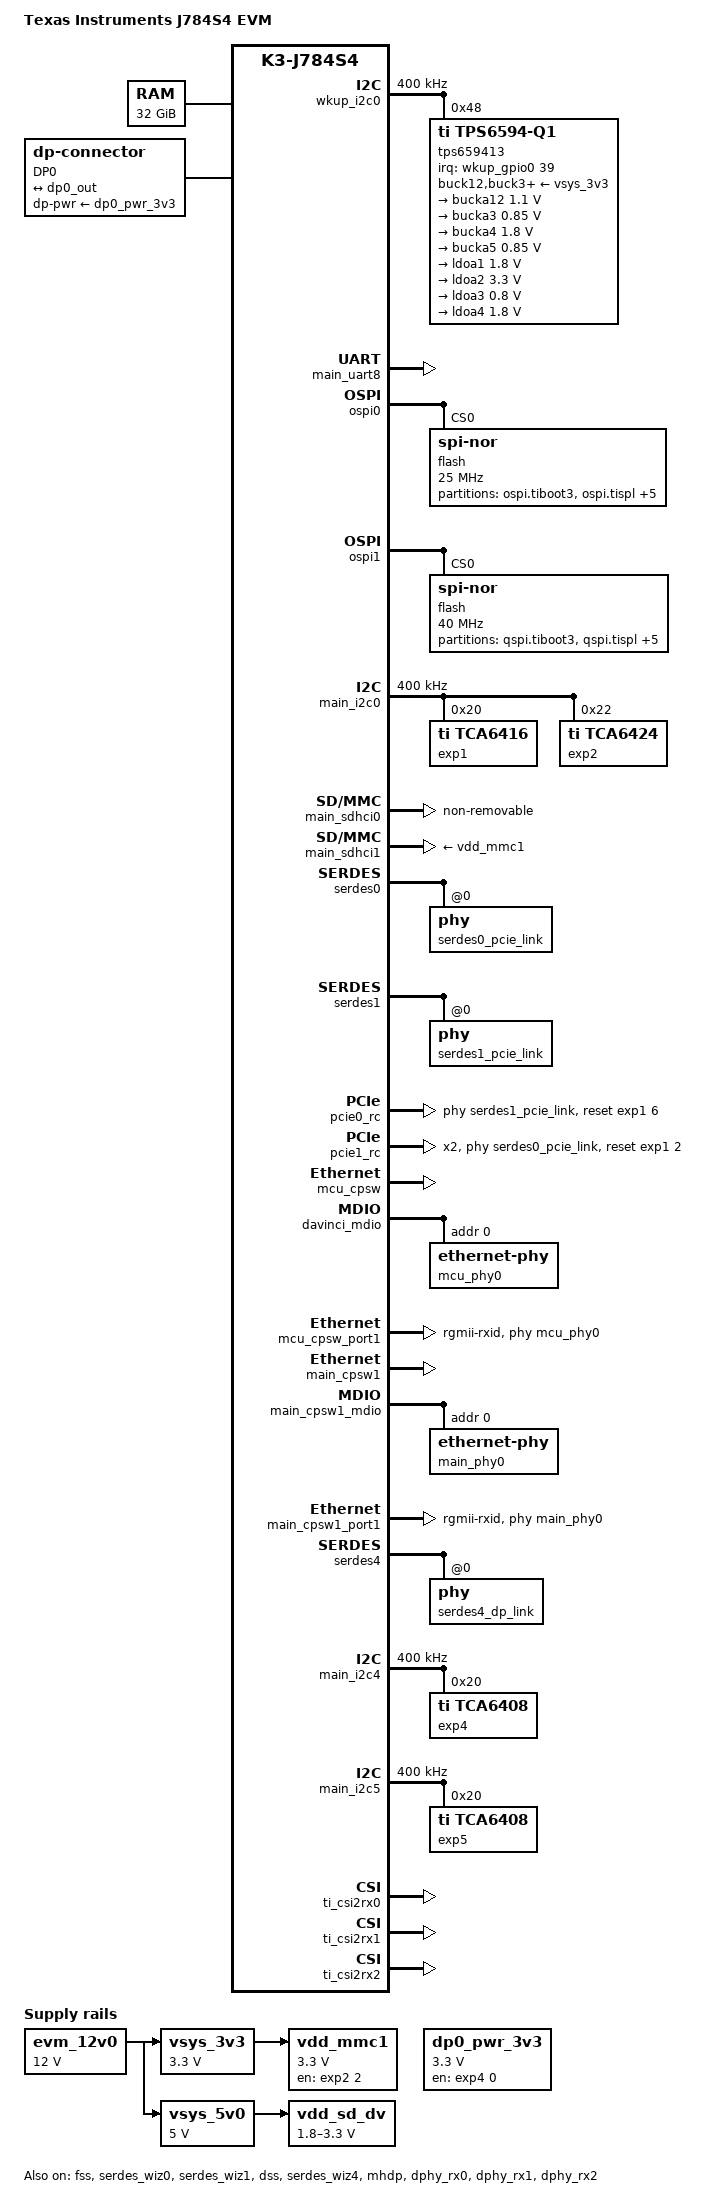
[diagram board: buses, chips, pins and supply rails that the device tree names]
// SPDX-License-Identifier: GPL-2.0
/*
 * Copyright (C) 2022 Texas Instruments Incorporated - https://www.ti.com/
 *
 * EVM Board Schematics: https://www.ti.com/lit/zip/sprr458
 */

/dts-v1/;

#include <dt-bindings/net/ti-dp83867.h>
#include <dt-bindings/gpio/gpio.h>
#include "k3-j784s4.dtsi"

/ {
	compatible = "ti,j784s4-evm", "ti,j784s4";
	model = "Texas Instruments J784S4 EVM";

	chosen {
		stdout-path = "serial2:115200n8";
	};

	aliases {
		serial2 = &main_uart8;
		mmc0 = &main_sdhci0;
		mmc1 = &main_sdhci1;
		i2c0 = &main_i2c0;
	};

	memory@80000000 {
		device_type = "memory";
		/* 32G RAM */
		reg = <0x00 0x80000000 0x00 0x80000000>,
		      <0x08 0x80000000 0x07 0x80000000>;
	};

	reserved_memory: reserved-memory {
		#address-cells = <2>;
		#size-cells = <2>;
		ranges;

		secure_ddr: optee@9e800000 {
			reg = <0x00 0x9e800000 0x00 0x01800000>;
			no-map;
		};
	};

	evm_12v0: regulator-evm12v0 {
		/* main supply */
		compatible = "regulator-fixed";
		regulator-name = "evm_12v0";
		regulator-min-microvolt = <12000000>;
		regulator-max-microvolt = <12000000>;
		regulator-always-on;
		regulator-boot-on;
	};

	vsys_3v3: regulator-vsys3v3 {
		/* Output of LM5140 */
		compatible = "regulator-fixed";
		regulator-name = "vsys_3v3";
		regulator-min-microvolt = <3300000>;
		regulator-max-microvolt = <3300000>;
		vin-supply = <&evm_12v0>;
		regulator-always-on;
		regulator-boot-on;
	};

	vsys_5v0: regulator-vsys5v0 {
		/* Output of LM5140 */
		compatible = "regulator-fixed";
		regulator-name = "vsys_5v0";
		regulator-min-microvolt = <5000000>;
		regulator-max-microvolt = <5000000>;
		vin-supply = <&evm_12v0>;
		regulator-always-on;
		regulator-boot-on;
	};

	vdd_mmc1: regulator-sd {
		/* Output of TPS22918 */
		compatible = "regulator-fixed";
		regulator-name = "vdd_mmc1";
		regulator-min-microvolt = <3300000>;
		regulator-max-microvolt = <3300000>;
		regulator-boot-on;
		enable-active-high;
		vin-supply = <&vsys_3v3>;
		gpio = <&exp2 2 GPIO_ACTIVE_HIGH>;
	};

	vdd_sd_dv: regulator-TLV71033 {
		/* Output of TLV71033 */
		compatible = "regulator-gpio";
		regulator-name = "tlv71033";
		pinctrl-names = "default";
		pinctrl-0 = <&vdd_sd_dv_pins_default>;
		regulator-min-microvolt = <1800000>;
		regulator-max-microvolt = <3300000>;
		regulator-boot-on;
		vin-supply = <&vsys_5v0>;
		gpios = <&main_gpio0 8 GPIO_ACTIVE_HIGH>;
		states = <1800000 0x0>,
			 <3300000 0x1>;
	};

	dp0_pwr_3v3: regulator-dp0-prw {
		compatible = "regulator-fixed";
		regulator-name = "dp0-pwr";
		regulator-min-microvolt = <3300000>;
		regulator-max-microvolt = <3300000>;
		gpio = <&exp4 0 GPIO_ACTIVE_HIGH>;
		enable-active-high;
	};

	dp0: dp0-connector {
		compatible = "dp-connector";
		label = "DP0";
		type = "full-size";
		dp-pwr-supply = <&dp0_pwr_3v3>;

		port {
			dp0_connector_in: endpoint {
				remote-endpoint = <&dp0_out>;
			};
		};
	};
};

&wkup_pmx0 {
	status = "okay";
	wkup_i2c0_pins_default: wkup_i2c0_pins_default {
		pinctrl-single,pins = <
			J784S4_WKUP_IOPAD(0x100, PIN_INPUT, 0) /* (N33) WKUP_I2C0_SCL */
			J784S4_WKUP_IOPAD(0x104, PIN_INPUT, 0) /* (N35) WKUP_I2C0_SDA */
		>;
	};

	pmic_irq_pins_default: pmic-irq-pins-default {
		pinctrl-single,pins = <
			/* (G33) MCU_OSPI1_CSn1.WKUP_GPIO0_39 */
			J784S4_WKUP_IOPAD(0x060, PIN_INPUT, 7)
		>;
	};
};

&wkup_gpio0 {
	status = "okay";
};

&wkup_i2c0 {
	status = "okay";
	pinctrl-names = "default";
	pinctrl-0 = <&wkup_i2c0_pins_default>;
	clock-frequency = <400000>;
	tps659413: pmic@48 {
		compatible = "ti,tps6594-q1";
		reg = <0x48>;
		system-power-controller;
		pinctrl-names = "default";
		pinctrl-0 = <&pmic_irq_pins_default>;
		interrupt-parent = <&wkup_gpio0>;
		interrupts = <39 IRQ_TYPE_EDGE_FALLING>;
		ti,primary-pmic;

		gpio-controller;
		#gpio-cells = <2>;

		buck12-supply = <&vsys_3v3>;
		buck3-supply = <&vsys_3v3>;
		buck4-supply = <&vsys_3v3>;
		buck5-supply = <&vsys_3v3>;
		ldo1-supply = <&vsys_3v3>;
		ldo2-supply = <&vsys_3v3>;
		ldo3-supply = <&vsys_3v3>;
		ldo4-supply = <&vsys_3v3>;

		regulators {
			bucka12: buck12 {
				regulator-name = "vdd_ddr_1v1";
				regulator-min-microvolt = <1100000>;
				regulator-max-microvolt = <1100000>;
				regulator-boot-on;
				regulator-always-on;
			};

			bucka3: buck3 {
				regulator-name = "vdd_ram_0v85";
				regulator-min-microvolt = <850000>;
				regulator-max-microvolt = <850000>;
				regulator-boot-on;
				regulator-always-on;
			};

			bucka4: buck4 {
				regulator-name = "vdd_io_1v8";
				regulator-min-microvolt = <1800000>;
				regulator-max-microvolt = <1800000>;
				regulator-boot-on;
				regulator-always-on;
			};

			bucka5: buck5 {
				regulator-name = "vdd_mcu_0v85";
				regulator-min-microvolt = <850000>;
				regulator-max-microvolt = <850000>;
				regulator-boot-on;
				regulator-always-on;
			};

			ldoa1: ldo1 {
				regulator-name = "vdd_mcuio_1v8";
				regulator-min-microvolt = <1800000>;
				regulator-max-microvolt = <1800000>;
				regulator-boot-on;
				regulator-always-on;
			};

			ldoa2: ldo2 {
				regulator-name = "vdd_mcuio_3v3";
				regulator-min-microvolt = <3300000>;
				regulator-max-microvolt = <3300000>;
				regulator-boot-on;
				regulator-always-on;
			};

			ldoa3: ldo3 {
				regulator-name = "vds_dll_0v8";
				regulator-min-microvolt = <800000>;
				regulator-max-microvolt = <800000>;
				regulator-boot-on;
				regulator-always-on;
			};

			ldoa4: ldo4 {
				regulator-name = "vda_mcu_1v8";
				regulator-min-microvolt = <1800000>;
				regulator-max-microvolt = <1800000>;
				regulator-boot-on;
				regulator-always-on;
			};
		};
	};
};

&main_pmx0 {
	main_cpsw2g_pins_default: main-cpsw2g-pins-default {
		pinctrl-single,pins = <
			J784S4_IOPAD(0x0b8, PIN_INPUT, 6) /* (AC34) MCASP1_ACLKX.RGMII1_RD0 */
			J784S4_IOPAD(0x0a0, PIN_INPUT, 6) /* (AD34) MCASP0_AXR12.RGMII1_RD1 */
			J784S4_IOPAD(0x0a4, PIN_INPUT, 6) /* (AJ36) MCASP0_AXR13.RGMII1_RD2 */
			J784S4_IOPAD(0x0a8, PIN_INPUT, 6) /* (AF34) MCASP0_AXR14.RGMII1_RD3 */
			J784S4_IOPAD(0x0b0, PIN_INPUT, 6) /* (AL33) MCASP1_AXR3.RGMII1_RXC */
			J784S4_IOPAD(0x0ac, PIN_INPUT, 6) /* (AE34) MCASP0_AXR15.RGMII1_RX_CTL */
			J784S4_IOPAD(0x08c, PIN_INPUT, 6) /* (AE35) MCASP0_AXR7.RGMII1_TD0 */
			J784S4_IOPAD(0x090, PIN_INPUT, 6) /* (AC35) MCASP0_AXR8.RGMII1_TD1 */
			J784S4_IOPAD(0x094, PIN_INPUT, 6) /* (AG35) MCASP0_AXR9.RGMII1_TD2 */
			J784S4_IOPAD(0x098, PIN_INPUT, 6) /* (AH36) MCASP0_AXR10.RGMII1_TD3 */
			J784S4_IOPAD(0x0b4, PIN_INPUT, 6) /* (AL34) MCASP1_AXR4.RGMII1_TXC */
			J784S4_IOPAD(0x09c, PIN_INPUT, 6) /* (AF35) MCASP0_AXR11.RGMII1_TX_CTL */
		>;
	};

	main_cpsw2g_mdio_pins_default: main-cpsw2g-mdio-pins-default {
		pinctrl-single,pins = <
			J784S4_IOPAD(0x0c0, PIN_INPUT, 6) /* (AD38) MCASP1_AXR0.MDIO0_MDC */
			J784S4_IOPAD(0x0bc, PIN_INPUT, 6) /* (AD33) MCASP1_AFSX.MDIO0_MDIO */
		>;
	};

	main_uart8_pins_default: main-uart8-pins-default {
		pinctrl-single,pins = <
			J784S4_IOPAD(0x040, PIN_INPUT, 14) /* (AF37) MCASP0_AXR0.UART8_CTSn */
			J784S4_IOPAD(0x044, PIN_OUTPUT, 14) /* (AG37) MCASP0_AXR1.UART8_RTSn */
			J784S4_IOPAD(0x0d0, PIN_INPUT, 11) /* (AP38) SPI0_CS1.UART8_RXD */
			J784S4_IOPAD(0x0d4, PIN_OUTPUT, 11) /* (AN38) SPI0_CLK.UART8_TXD */
		>;
	};

	main_i2c0_pins_default: main-i2c0-pins-default {
		pinctrl-single,pins = <
			J784S4_IOPAD(0x0e0, PIN_INPUT_PULLUP, 0) /* (AN36) I2C0_SCL */
			J784S4_IOPAD(0x0e4, PIN_INPUT_PULLUP, 0) /* (AP37) I2C0_SDA */
		>;
	};

	main_i2c5_pins_default: main-i2c5-pins-default {
		pinctrl-single,pins = <
			J784S4_IOPAD(0x01c, PIN_INPUT, 8) /* (AG34) MCAN15_TX.I2C5_SCL */
			J784S4_IOPAD(0x018, PIN_INPUT, 8) /* (AK36) MCAN14_RX.I2C5_SDA */
		>;
	};

	main_mmc1_pins_default: main-mmc1-pins-default {
		pinctrl-single,pins = <
			J784S4_IOPAD(0x104, PIN_INPUT, 0) /* (AB38) MMC1_CLK */
			J784S4_IOPAD(0x108, PIN_INPUT, 0) /* (AB36) MMC1_CMD */
			J784S4_IOPAD(0x100, PIN_INPUT, 0) /* (No Pin) MMC1_CLKLB */
			J784S4_IOPAD(0x0fc, PIN_INPUT, 0) /* (AA33) MMC1_DAT0 */
			J784S4_IOPAD(0x0f8, PIN_INPUT, 0) /* (AB34) MMC1_DAT1 */
			J784S4_IOPAD(0x0f4, PIN_INPUT, 0) /* (AA32) MMC1_DAT2 */
			J784S4_IOPAD(0x0f0, PIN_INPUT, 0) /* (AC38) MMC1_DAT3 */
			J784S4_IOPAD(0x0e8, PIN_INPUT, 8) /* (AR38) TIMER_IO0.MMC1_SDCD */
		>;
	};

	vdd_sd_dv_pins_default: vdd-sd-dv-pins-default {
		pinctrl-single,pins = <
			J784S4_IOPAD(0x020, PIN_INPUT, 7) /* (AJ35) MCAN15_RX.GPIO0_8 */
		>;
	};

	dp0_pins_default: dp0-pins-default {
		pinctrl-single,pins = <
			J784S4_IOPAD(0x0cc, PIN_INPUT, 12) /* (AM37) SPI0_CS0.DP0_HPD */
		>;
	};

	main_i2c4_pins_default: main-i2c4-pins-default {
		pinctrl-single,pins = <
			J784S4_IOPAD(0x014, PIN_INPUT_PULLUP, 8) /* (AG33) MCAN14_TX.I2C4_SCL */
			J784S4_IOPAD(0x010, PIN_INPUT_PULLUP, 8) /* (AH33) MCAN13_RX.I2C4_SDA */
		>;
	};
};

&wkup_pmx0 {
	mcu_cpsw_pins_default: mcu-cpsw-pins-default {
		pinctrl-single,pins = <
			J784S4_WKUP_IOPAD(0x094, PIN_INPUT, 0) /* (A35) MCU_RGMII1_RD0 */
			J784S4_WKUP_IOPAD(0x090, PIN_INPUT, 0) /* (B36) MCU_RGMII1_RD1 */
			J784S4_WKUP_IOPAD(0x08c, PIN_INPUT, 0) /* (C36) MCU_RGMII1_RD2 */
			J784S4_WKUP_IOPAD(0x088, PIN_INPUT, 0) /* (D36) MCU_RGMII1_RD3 */
			J784S4_WKUP_IOPAD(0x084, PIN_INPUT, 0) /* (B37) MCU_RGMII1_RXC */
			J784S4_WKUP_IOPAD(0x06c, PIN_INPUT, 0) /* (C37) MCU_RGMII1_RX_CTL */
			J784S4_WKUP_IOPAD(0x07c, PIN_OUTPUT, 0) /* (D37) MCU_RGMII1_TD0 */
			J784S4_WKUP_IOPAD(0x078, PIN_OUTPUT, 0) /* (D38) MCU_RGMII1_TD1 */
			J784S4_WKUP_IOPAD(0x074, PIN_OUTPUT, 0) /* (E37) MCU_RGMII1_TD2 */
			J784S4_WKUP_IOPAD(0x070, PIN_OUTPUT, 0) /* (E38) MCU_RGMII1_TD3 */
			J784S4_WKUP_IOPAD(0x080, PIN_OUTPUT, 0) /* (E36) MCU_RGMII1_TXC */
			J784S4_WKUP_IOPAD(0x068, PIN_OUTPUT, 0) /* (C38) MCU_RGMII1_TX_CTL */
		>;
	};

	mcu_mdio_pins_default: mcu-mdio-pins-default {
		pinctrl-single,pins = <
			J784S4_WKUP_IOPAD(0x09c, PIN_OUTPUT, 0) /* (A36) MCU_MDIO0_MDC */
			J784S4_WKUP_IOPAD(0x098, PIN_INPUT, 0) /* (B35) MCU_MDIO0_MDIO */
		>;
	};
};

&wkup_pmx0 {
	mcu_fss0_ospi0_pins_default: mcu-fss0-ospi0-pins-default {
		pinctrl-single,pins = <
			J784S4_WKUP_IOPAD(0x000, PIN_OUTPUT, 0) /* (E32) MCU_OSPI0_CLK */
			J784S4_WKUP_IOPAD(0x02c, PIN_OUTPUT, 0) /* (A32) MCU_OSPI0_CSn0 */
			J784S4_WKUP_IOPAD(0x00c, PIN_INPUT, 0) /* (B33) MCU_OSPI0_D0 */
			J784S4_WKUP_IOPAD(0x010, PIN_INPUT, 0) /* (B32) MCU_OSPI0_D1 */
			J784S4_WKUP_IOPAD(0x014, PIN_INPUT, 0) /* (C33) MCU_OSPI0_D2 */
			J784S4_WKUP_IOPAD(0x018, PIN_INPUT, 0) /* (C35) MCU_OSPI0_D3 */
			J784S4_WKUP_IOPAD(0x01c, PIN_INPUT, 0) /* (D33) MCU_OSPI0_D4 */
			J784S4_WKUP_IOPAD(0x020, PIN_INPUT, 0) /* (D34) MCU_OSPI0_D5 */
			J784S4_WKUP_IOPAD(0x024, PIN_INPUT, 0) /* (E34) MCU_OSPI0_D6 */
			J784S4_WKUP_IOPAD(0x028, PIN_INPUT, 0) /* (E33) MCU_OSPI0_D7 */
			J784S4_WKUP_IOPAD(0x008, PIN_INPUT, 0) /* (C34) MCU_OSPI0_DQS */
			J784S4_WKUP_IOPAD(0x03c, PIN_OUTPUT, 6) /* (C32) MCU_OSPI0_CSn3.MCU_OSPI0_ECC_FAIL */
			J784S4_WKUP_IOPAD(0x038, PIN_OUTPUT, 6) /* (B34) MCU_OSPI0_CSn2.MCU_OSPI0_RESET_OUT0 */
		>;
	};

	mcu_fss0_ospi1_pins_default: mcu-fss0-ospi1-pins-default {
		pinctrl-single,pins = <
			J784S4_WKUP_IOPAD(0x040, PIN_OUTPUT, 0) /* (F32) MCU_OSPI1_CLK */
			J784S4_WKUP_IOPAD(0x05c, PIN_OUTPUT, 0) /* (G32) MCU_OSPI1_CSn0 */
			J784S4_WKUP_IOPAD(0x04c, PIN_INPUT, 0) /* (E35) MCU_OSPI1_D0 */
			J784S4_WKUP_IOPAD(0x050, PIN_INPUT, 0) /* (D31) MCU_OSPI1_D1 */
			J784S4_WKUP_IOPAD(0x054, PIN_INPUT, 0) /* (G31) MCU_OSPI1_D2 */
			J784S4_WKUP_IOPAD(0x058, PIN_INPUT, 0) /* (F33) MCU_OSPI1_D3 */
			J784S4_WKUP_IOPAD(0x048, PIN_INPUT, 0) /* (F31) MCU_OSPI1_DQS */
			J784S4_WKUP_IOPAD(0x044, PIN_INPUT, 0) /* (C31) MCU_OSPI1_LBCLKO */
		>;
	};
};

&main_uart8 {
	status = "okay";
	pinctrl-names = "default";
	pinctrl-0 = <&main_uart8_pins_default>;
};

&fss {
	status = "okay";
};

&ospi0 {
	status = "okay";
	pinctrl-names = "default";
	pinctrl-0 = <&mcu_fss0_ospi0_pins_default>;

	flash@0 {
		compatible = "jedec,spi-nor";
		reg = <0x0>;
		spi-tx-bus-width = <8>;
		spi-rx-bus-width = <8>;
		spi-max-frequency = <25000000>;
		cdns,tshsl-ns = <60>;
		cdns,tsd2d-ns = <60>;
		cdns,tchsh-ns = <60>;
		cdns,tslch-ns = <60>;
		cdns,read-delay = <4>;

		partitions {
			compatible = "fixed-partitions";
			#address-cells = <1>;
			#size-cells = <1>;

			partition@0 {
				label = "ospi.tiboot3";
				reg = <0x0 0x80000>;
			};

			partition@80000 {
				label = "ospi.tispl";
				reg = <0x80000 0x200000>;
			};

			partition@280000 {
				label = "ospi.u-boot";
				reg = <0x280000 0x400000>;
			};

			partition@680000 {
				label = "ospi.env";
				reg = <0x680000 0x40000>;
			};

			partition@6c0000 {
				label = "ospi.env.backup";
				reg = <0x6c0000 0x40000>;
			};

			partition@800000 {
				label = "ospi.rootfs";
				reg = <0x800000 0x37c0000>;
			};

			partition@3fc0000 {
				label = "ospi.phypattern";
				reg = <0x3fc0000 0x40000>;
			};
		};
	};
};

&ospi1 {
	status = "okay";
	pinctrl-names = "default";
	pinctrl-0 = <&mcu_fss0_ospi1_pins_default>;

	flash@0{
		compatible = "jedec,spi-nor";
		reg = <0x0>;
		spi-tx-bus-width = <1>;
		spi-rx-bus-width = <4>;
		spi-max-frequency = <40000000>;
		cdns,tshsl-ns = <60>;
		cdns,tsd2d-ns = <60>;
		cdns,tchsh-ns = <60>;
		cdns,tslch-ns = <60>;
		cdns,read-delay = <2>;

		partitions {
			compatible = "fixed-partitions";
			#address-cells = <1>;
			#size-cells = <1>;

			partition@0 {
				label = "qspi.tiboot3";
				reg = <0x0 0x80000>;
			};

			partition@80000 {
				label = "qspi.tispl";
				reg = <0x80000 0x200000>;
			};

			partition@280000 {
				label = "qspi.u-boot";
				reg = <0x280000 0x400000>;
			};

			partition@680000 {
				label = "qspi.env";
				reg = <0x680000 0x40000>;
			};

			partition@6c0000 {
				label = "qspi.env.backup";
				reg = <0x6c0000 0x40000>;
			};

			partition@800000 {
				label = "qspi.rootfs";
				reg = <0x800000 0x37c0000>;
			};

			partition@3fc0000 {
				label = "qspi.phypattern";
				reg = <0x3fc0000 0x40000>;
			};
		};

	};
};

&main_i2c0 {
	status = "okay";
	pinctrl-names = "default";
	pinctrl-0 = <&main_i2c0_pins_default>;

	clock-frequency = <400000>;

	exp1: gpio@20 {
		compatible = "ti,tca6416";
		reg = <0x20>;
		gpio-controller;
		#gpio-cells = <2>;
		gpio-line-names = "PCIE1_2L_MODE_SEL", "PCIE1_4L_PERSTZ", "PCIE1_2L_RC_RSTZ",
				  "PCIE1_2L_EP_RST_EN", "PCIE0_4L_MODE_SEL", "PCIE0_4L_PERSTZ",
				  "PCIE0_4L_RC_RSTZ", "PCIE0_4L_EP_RST_EN", "PCIE1_4L_PRSNT#",
				  "PCIE0_4L_PRSNT#", "CDCI1_OE1/OE4", "CDCI1_OE2/OE3",
				  "AUDIO_MUX_SEL", "EXP_MUX2", "EXP_MUX3", "GESI_EXP_PHY_RSTZ";
	};

	exp2: gpio@22 {
		compatible = "ti,tca6424";
		reg = <0x22>;
		gpio-controller;
		#gpio-cells = <2>;
		gpio-line-names = "R_GPIO_RGMII1_RST", "ENET2_I2CMUX_SEL", "GPIO_USD_PWR_EN",
				  "USBC_PWR_EN", "USBC_MODE_SEL1", "USBC_MODE_SEL0",
				  "GPIO_LIN_EN", "R_CAN_STB", "CTRL_PM_I2C_OE#",
				  "ENET2_EXP_PWRDN", "ENET2_EXP_SPARE2", "CDCI2_RSTZ",
				  "USB2.0_MUX_SEL", "CANUART_MUX_SEL0", "CANUART_MUX2_SEL1",
				  "CANUART_MUX1_SEL1", "ENET1_EXP_PWRDN", "ENET1_EXP_RESETZ",
				  "ENET1_I2CMUX_SEL", "ENET1_EXP_SPARE2", "ENET2_EXP_RESETZ",
				  "USER_INPUT1", "USER_LED1", "USER_LED2";
	};
};

&main_sdhci0 {
	/* eMMC */
	status = "okay";
	non-removable;
	ti,driver-strength-ohm = <50>;
	disable-wp;
};

&main_sdhci1 {
	/* SD card */
	status = "okay";
	pinctrl-0 = <&main_mmc1_pins_default>;
	pinctrl-names = "default";
	disable-wp;
	vmmc-supply = <&vdd_mmc1>;
	vqmmc-supply = <&vdd_sd_dv>;
};

&serdes0 {
	status = "okay";
	serdes0_pcie_link: phy@0 {
		reg = <0>;
		cdns,num-lanes = <4>;
		#phy-cells = <0>;
		cdns,phy-type = <PHY_TYPE_PCIE>;
		resets = <&serdes_wiz0 1>, <&serdes_wiz0 2>,
			 <&serdes_wiz0 3>, <&serdes_wiz0 4>;
	};
};

&serdes_wiz0 {
	status = "okay";
};

&serdes1 {
	status = "okay";
	serdes1_pcie_link: phy@0 {
		reg = <0>;
		cdns,num-lanes = <2>;
		#phy-cells = <0>;
		cdns,phy-type = <PHY_TYPE_PCIE>;
		resets = <&serdes_wiz1 1>, <&serdes_wiz1 2>;
	};
};

&serdes_wiz1 {
	status = "okay";
};

&pcie0_rc {
	status = "okay";
	reset-gpios = <&exp1 6 GPIO_ACTIVE_HIGH>;
	phys = <&serdes1_pcie_link>;
	phy-names = "pcie-phy";
};

&pcie0_ep {
	phys = <&serdes1_pcie_link>;
	phy-names = "pcie-phy";
};

&pcie1_rc {
	status = "okay";
	num-lanes = <2>;
	reset-gpios = <&exp1 2 GPIO_ACTIVE_HIGH>;
	phys = <&serdes0_pcie_link>;
	phy-names = "pcie-phy";
};

&pcie1_ep {
	num-lanes = <2>;
	phys = <&serdes0_pcie_link>;
	phy-names = "pcie-phy";
};

&serdes_ln_ctrl {
	idle-states = <J784S4_SERDES0_LANE0_PCIE1_LANE0>, <J784S4_SERDES0_LANE1_PCIE1_LANE1>,
		<J784S4_SERDES0_LANE2_IP3_UNUSED>, <J784S4_SERDES0_LANE3_USB>,
		<J784S4_SERDES1_LANE0_PCIE0_LANE0>, <J784S4_SERDES1_LANE1_PCIE0_LANE1>,
		<J784S4_SERDES1_LANE2_PCIE0_LANE2>, <J784S4_SERDES1_LANE3_PCIE0_LANE3>,
		<J784S4_SERDES2_LANE2_QSGMII_LANE1>, <J784S4_SERDES2_LANE3_QSGMII_LANE2>;
};

&main_gpio0 {
	status = "okay";
};

&mcu_cpsw {
	status = "okay";
	pinctrl-names = "default";
	pinctrl-0 = <&mcu_cpsw_pins_default>;
};

&davinci_mdio {
	pinctrl-names = "default";
	pinctrl-0 = <&mcu_mdio_pins_default>;

	mcu_phy0: ethernet-phy@0 {
		reg = <0>;
		ti,rx-internal-delay = <DP83867_RGMIIDCTL_2_00_NS>;
		ti,fifo-depth = <DP83867_PHYCR_FIFO_DEPTH_4_B_NIB>;
		ti,min-output-impedance;
	};
};

&mcu_cpsw_port1 {
	status = "okay";
	phy-mode = "rgmii-rxid";
	phy-handle = <&mcu_phy0>;
};

&main_cpsw1 {
	status = "okay";
	pinctrl-names = "default";
	pinctrl-0 = <&main_cpsw2g_pins_default>;
};

&main_cpsw1_mdio {
	pinctrl-names = "default";
	pinctrl-0 = <&main_cpsw2g_mdio_pins_default>;

	main_phy0: ethernet-phy@0 {
		reg = <0>;
		ti,rx-internal-delay = <DP83867_RGMIIDCTL_2_00_NS>;
		ti,fifo-depth = <DP83867_PHYCR_FIFO_DEPTH_4_B_NIB>;
		ti,min-output-impedance;
	};
};

&main_cpsw1_port1 {
	status = "okay";
	phy-mode = "rgmii-rxid";
	phy-handle = <&main_phy0>;
};

&serdes_refclk {
	clock-frequency = <100000000>;
};

&dss {
	status = "okay";
	assigned-clocks = <&k3_clks 218 2>,
			  <&k3_clks 218 5>,
			  <&k3_clks 218 14>,
			  <&k3_clks 218 18>;
	assigned-clock-parents = <&k3_clks 218 3>,
				 <&k3_clks 218 7>,
				 <&k3_clks 218 16>,
				 <&k3_clks 218 22>;
};

&serdes_wiz4 {
	status = "okay";
};

&serdes4 {
	status = "okay";
	serdes4_dp_link: phy@0 {
		reg = <0>;
		cdns,num-lanes = <4>;
		#phy-cells = <0>;
		cdns,phy-type = <PHY_TYPE_DP>;
		resets = <&serdes_wiz4 1>, <&serdes_wiz4 2>,
			 <&serdes_wiz4 3>, <&serdes_wiz4 4>;
	};
};

&mhdp {
	status = "okay";
	pinctrl-names = "default";
	pinctrl-0 = <&dp0_pins_default>;
	phys = <&serdes4_dp_link>;
	phy-names = "dpphy";
};

&dss_ports {
	port {
		dpi0_out: endpoint {
			remote-endpoint = <&dp0_in>;
		};
	};
};

&main_i2c4 {
	status = "okay";
	pinctrl-names = "default";
	pinctrl-0 = <&main_i2c4_pins_default>;
	clock-frequency = <400000>;

	exp4: gpio@20 {
		compatible = "ti,tca6408";
		reg = <0x20>;
		gpio-controller;
		#gpio-cells = <2>;
	};
};

&main_i2c5 {
	status = "okay";
	pinctrl-names = "default";
	pinctrl-0 = <&main_i2c5_pins_default>;
	clock-frequency = <400000>;

	exp5: gpio@20 {
		compatible = "ti,tca6408";
		reg = <0x20>;
		gpio-controller;
		#gpio-cells = <2>;
	};
};

&dp0_ports {
	#address-cells = <1>;
	#size-cells = <0>;

	port@0 {
		reg = <0>;
		dp0_in: endpoint {
			remote-endpoint = <&dpi0_out>;
		};
	};

	port@4 {
		reg = <4>;
		dp0_out: endpoint {
			remote-endpoint = <&dp0_connector_in>;
		};
	};
};

&ti_csi2rx0 {
	status = "okay";
	/* MIPI-CSI Connector 0 */
};

&ti_csi2rx1 {
	status = "okay";
	/* MIPI-CSI Connector 0 */
};

&ti_csi2rx2 {
	status = "okay";
	/* MIPI-CSI Connector 1 */
};

&dphy_rx0 {
	status = "okay";
};

&dphy_rx1 {
	status = "okay";
};

&dphy_rx2 {
	status = "okay";
};
